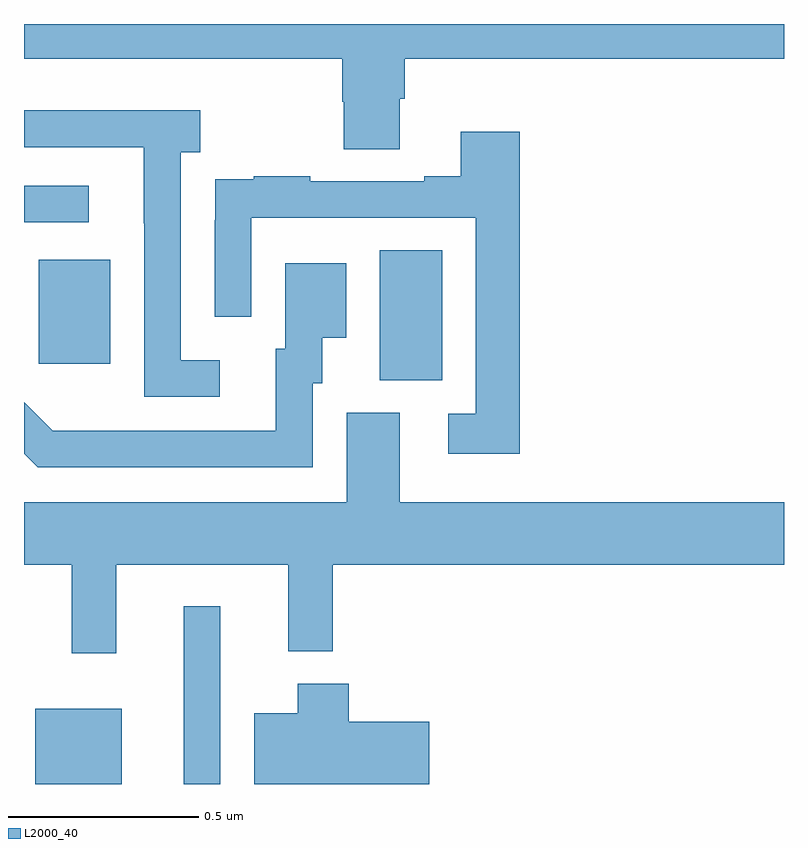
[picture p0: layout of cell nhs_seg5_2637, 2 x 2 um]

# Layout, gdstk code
import gdstk
lib = gdstk.Library(unit=1e-6, precision=1e-09)
def R(c, l, rs):  # rectangles x0, y0, x1, y1
    for r in rs: c.add(gdstk.rectangle(r[:2], r[2:], *l))
def P(c, l, *ps):  # polygons
    for p in ps: c.add(gdstk.Polygon(p, *l))
L2000_40 = (2000, 40)

nhs_seg5_2637 = lib.new_cell('nhs_seg5_2637')
R(nhs_seg5_2637, L2000_40, [(146.03,906.799,146.257,906.997), (146.42,906.799,146.517,907.267), (146.936,907.861,147.1,908.204), (146.039,907.905,146.227,908.179), (146,908.277,146.17,908.373)])
P(nhs_seg5_2637, L2000_40, [(146.989,908.602),(147.002,908.602),(147.002,908.708),(148,908.708),(148,908.799),(146,908.799),(146,908.708),(146.837,908.708),(146.837,908.595),(146.842,908.595),(146.842,908.47),(146.989,908.47)],
  [(146.515,907.914),(146.412,907.914),(146.412,908.462),(146.464,908.462),(146.464,908.572),(146,908.572),(146,908.475),(146.315,908.475),(146.315,908.275),(146.316,908.275),(146.316,907.818),(146.515,907.818)],
  [(147.305,908.515),(147.149,908.515),(147.149,908.398),(147.053,908.398),(147.053,908.385),(146.753,908.385),(146.753,908.398),(146.605,908.398),(146.605,908.391),(146.503,908.391),(146.503,908.282),(146.502,908.282),(146.502,908.028),(146.598,908.028),(146.598,908.289),(147.189,908.289),(147.189,907.773),(147.117,907.773),(147.117,907.668),(147.305,907.668)],
  [(146.76,907.854),(146.785,907.854),(146.785,907.973),(146.848,907.973),(146.848,908.17),(146.687,908.17),(146.687,907.944),(146.663,907.944),(146.663,907.728),(146.179,907.728),(146.179,907.729),(146.076,907.729),(146,907.804),(146,907.668),(146.036,907.632),(146.76,907.632)],
  [(146.243,907.376),(146.696,907.376),(146.696,907.148),(146.813,907.148),(146.813,907.376),(148,907.376),(148,907.54),(146.989,907.54),(146.989,907.776),(146.849,907.776),(146.849,907.54),(146,907.54),(146,907.376),(146.125,907.376),(146.125,907.143),(146.243,907.143)],
  [(147.067,906.963),(146.855,906.963),(146.855,907.063),(146.72,907.063),(146.72,906.985),(146.606,906.985),(146.606,906.799),(147.067,906.799)])

lib.write_gds('nhs_seg5_2637.gds')
